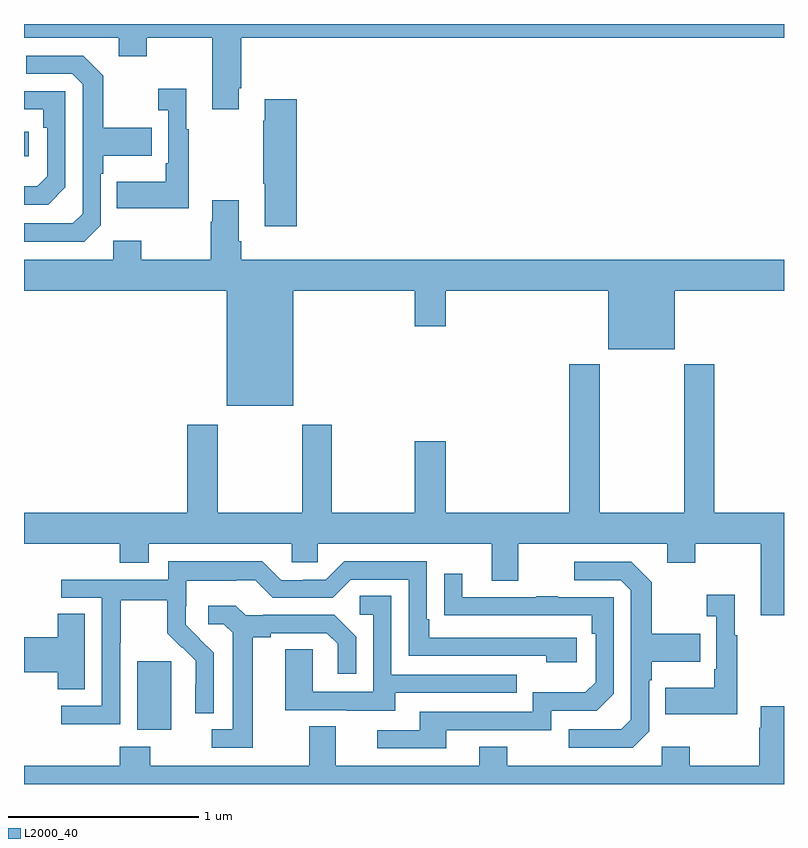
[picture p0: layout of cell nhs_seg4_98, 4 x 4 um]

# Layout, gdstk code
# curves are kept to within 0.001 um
import gdstk
lib = gdstk.Library(unit=1e-6, precision=1e-09)
def R(c, l, rs):  # rectangles x0, y0, x1, y1
    for r in rs: c.add(gdstk.rectangle(r[:2], r[2:], *l))
def P(c, l, *ps):  # polygons
    for p in ps: c.add(gdstk.Polygon(p, *l))
L2000_40 = (2000, 40)

nhs_seg4_98 = lib.new_cell('nhs_seg4_98')
R(nhs_seg4_98, L2000_40, [(115.595,785.186,115.774,785.547), (115,788.204,115.024,788.334)])
P(nhs_seg4_98, L2000_40, [(116.131,788.563),(116.144,788.563),(116.144,788.828),(119,788.828),(119,788.9),(115,788.9),(115,788.828),(115.499,788.828),(115.499,788.729),(115.647,788.729),(115.647,788.828),(115.991,788.828),(115.991,788.451),(116.131,788.451)],
  [(115.404,787.842),(115.404,788.111),(115.417,788.111),(115.417,788.207),(115.673,788.207),(115.673,788.355),(115.417,788.355),(115.417,788.627),(115.311,788.733),(115.011,788.733),(115.011,788.637),(115.254,788.637),(115.308,788.583),(115.308,787.902),(115.257,787.851),(115,787.851),(115,787.755),(115.317,787.755)],
  [(115.867,788.347),(115.855,788.347),(115.855,788.56),(115.707,788.56),(115.707,788.447),(115.758,788.447),(115.758,788.167),(115.746,788.167),(115.746,788.071),(115.489,788.071),(115.489,787.931),(115.867,787.931)],
  [(115.218,788.04),(115.218,788.547),(115,788.547),(115,788.451),(115.102,788.451),(115.102,788.354),(115.122,788.354),(115.122,788.1),(115.069,788.047),(115,788.047),(115,787.95),(115.128,787.95)],
  [(116.435,788.503),(116.267,788.503),(116.267,788.39),(116.26,788.39),(116.26,788.059),(116.267,788.059),(116.267,787.836),(116.435,787.836)],
  [(116.416,787.496),(117.056,787.496),(117.056,787.308),(117.22,787.308),(117.22,787.496),(118.076,787.496),(118.076,787.187),(118.426,787.187),(118.426,787.496),(119,787.496),(119,787.66),(116.144,787.66),(116.144,787.756),(116.131,787.756),(116.131,787.972),(115.991,787.972),(115.991,787.859),(115.984,787.859),(115.984,787.66),(115.617,787.66),(115.617,787.759),(115.47,787.759),(115.47,787.66),(115,787.66),(115,787.496),(116.066,787.496),(116.066,786.89),(116.416,786.89)],
  [(119,786.328),(118.634,786.328),(118.634,787.108),(118.474,787.108),(118.474,786.328),(118.029,786.328),(118.029,787.108),(117.869,787.108),(117.869,786.328),(117.22,786.328),(117.22,786.703),(117.056,786.703),(117.056,786.328),(116.619,786.328),(116.619,786.79),(116.464,786.79),(116.464,786.328),(116.019,786.328),(116.019,786.79),(115.859,786.79),(115.859,786.328),(115,786.328),(115,786.164),(115.505,786.164),(115.505,786.065),(115.657,786.065),(115.657,786.164),(116.409,786.164),(116.409,786.066),(116.547,786.066),(116.547,786.164),(117.461,786.164),(117.461,785.97),(117.601,785.97),(117.601,786.164),(118.385,786.164),(118.385,786.065),(118.533,786.065),(118.533,786.164),(118.877,786.164),(118.877,785.787),(119,785.787)],
  [(115.506,785.644),(115.509,785.644),(115.509,785.868),(115.753,785.868),(115.753,785.693),(115.83,785.616),(115.833,785.619),(115.904,785.549),(115.904,785.426),(115.902,785.426),(115.902,785.272),(115.998,785.272),(115.998,785.59),(115.852,785.738),(115.852,785.835),(115.854,785.835),(115.854,785.969),(116.117,785.969),(116.117,785.973),(116.217,785.973),(116.31,785.88),(116.625,785.88),(116.721,785.976),(117.024,785.976),(117.024,785.574),(117.749,785.574),(117.749,785.54),(117.91,785.54),(117.91,785.67),(117.133,785.67),(117.133,785.767),(117.12,785.767),(117.12,786.072),(116.685,786.072),(116.589,785.976),(116.471,785.976),(116.471,785.973),(116.355,785.973),(116.255,786.073),(115.758,786.073),(115.758,785.976),(115.197,785.976),(115.197,785.88),(115.41,785.88),(115.41,785.313),(115.197,785.313),(115.197,785.215),(115.506,785.215)],
  [(118.29,785.178),(118.29,785.447),(118.303,785.447),(118.303,785.543),(118.559,785.543),(118.559,785.691),(118.303,785.691),(118.303,785.963),(118.197,786.069),(117.897,786.069),(117.897,785.973),(118.14,785.973),(118.194,785.919),(118.194,785.238),(118.143,785.187),(117.867,785.187),(117.867,785.091),(118.203,785.091)],
  [(117.223,785.184),(117.774,785.184),(117.774,785.286),(118.014,785.286),(118.104,785.376),(118.104,785.883),(117.809,785.883),(117.809,785.888),(117.697,785.888),(117.697,785.883),(117.307,785.883),(117.307,786.007),(117.211,786.007),(117.211,785.788),(117.988,785.787),(117.988,785.69),(118.008,785.69),(118.008,785.436),(117.955,785.383),(117.678,785.383),(117.678,785.28),(117.083,785.28),(117.083,785.184),(116.859,785.184),(116.859,785.088),(117.223,785.088)],
  [(118.753,785.683),(118.741,785.683),(118.741,785.896),(118.593,785.896),(118.593,785.783),(118.644,785.783),(118.644,785.503),(118.632,785.503),(118.632,785.407),(118.375,785.407),(118.375,785.267),(118.753,785.267)],
  [(116.953,785.379),(117.593,785.379),(117.593,785.475),(116.934,785.475),(116.934,785.891),(116.766,785.891),(116.766,785.79),(116.838,785.79),(116.838,785.385),(116.52,785.385),(116.52,785.609),(116.375,785.609),(116.375,785.289),(116.699,785.289),(116.699,785.285),(116.953,785.285)],
  [(116.203,785.672),(116.299,785.672),(116.299,785.694),(116.594,785.694),(116.651,785.637),(116.651,785.481),(116.748,785.481),(116.748,785.674),(116.632,785.79),(116.26,785.79),(116.26,785.787),(116.166,785.787),(116.114,785.839),(115.971,785.839),(115.971,785.742),(116.052,785.742),(116.099,785.695),(116.099,785.187),(115.989,785.187),(115.989,785.091),(116.203,785.091)],
  [(115.321,785.795),(115.178,785.795),(115.178,785.672),(115,785.672),(115,785.489),(115.178,785.489),(115.178,785.398),(115.321,785.398)],
  [(119,785.308),(118.877,785.308),(118.877,785.195),(118.87,785.195),(118.87,784.996),(118.503,784.996),(118.503,785.095),(118.356,785.095),(118.356,784.996),(117.543,784.996),(117.543,785.095),(117.395,785.095),(117.395,784.996),(116.641,784.996),(116.641,785.204),(116.501,785.204),(116.501,784.996),(115.665,784.996),(115.665,785.095),(115.505,785.095),(115.505,784.996),(115,784.996),(115,784.9),(119,784.9)])

lib.write_gds('nhs_seg4_98.gds')
